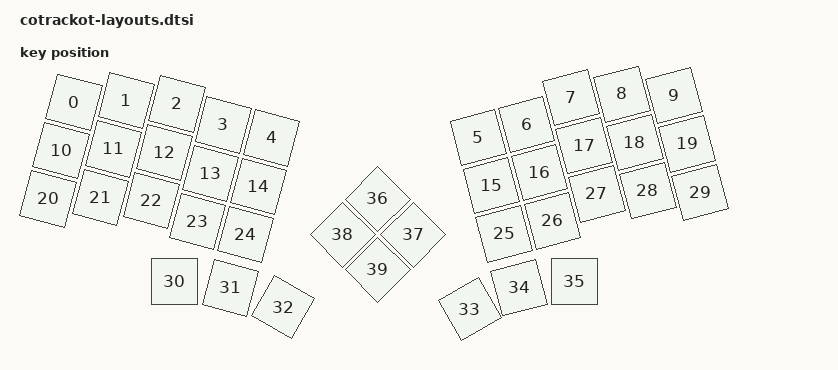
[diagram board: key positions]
#include <physical_layouts.dtsi>

/ {
    physical_layout0: physical_layout_0 {
        compatible = "zmk,physical-layout";
        display-name = "Default";

        kscan = <&kscan0>;
        transform = <&keymap_transform_0>;

        keys  //                     w   h    x    y     rot    rx    ry
            = <&key_physical_attrs 100 100    0   50    1500     0 (-12)>
            , <&key_physical_attrs 100 100  100   20    1500     0 (-12)>
            , <&key_physical_attrs 100 100  200    0    1500     0 (-12)>
            , <&key_physical_attrs 100 100  300   17    1500     0 (-12)>
            , <&key_physical_attrs 100 100  400   17    1500     0 (-12)>
            , <&key_physical_attrs 100 100  700  337 (-1500)     0 (-12)>
            , <&key_physical_attrs 100 100  800  337 (-1500)     0 (-12)>
            , <&key_physical_attrs 100 100  900  308 (-1500)     0 (-12)>
            , <&key_physical_attrs 100 100 1000  328 (-1500)     0 (-12)>
            , <&key_physical_attrs 100 100 1100  358 (-1500)     0 (-12)>
            , <&key_physical_attrs 100 100    0  150    1500     0 (-12)>
            , <&key_physical_attrs 100 100  100  120    1500     0 (-12)>
            , <&key_physical_attrs 100 100  200  100    1500     0 (-12)>
            , <&key_physical_attrs 100 100  300  117    1500     0 (-12)>
            , <&key_physical_attrs 100 100  400  117    1500     0 (-12)>
            , <&key_physical_attrs 100 100  700  437 (-1500)     0 (-12)>
            , <&key_physical_attrs 100 100  800  437 (-1500)     0 (-12)>
            , <&key_physical_attrs 100 100  900  408 (-1500)     0 (-12)>
            , <&key_physical_attrs 100 100 1000  428 (-1500)     0 (-12)>
            , <&key_physical_attrs 100 100 1100  458 (-1500)     0 (-12)>
            , <&key_physical_attrs 100 100    0  250    1500     0 (-12)>
            , <&key_physical_attrs 100 100  100  220    1500     0 (-12)>
            , <&key_physical_attrs 100 100  200  200    1500     0 (-12)>
            , <&key_physical_attrs 100 100  300  217    1500     0 (-12)>
            , <&key_physical_attrs 100 100  400  217    1500     0 (-12)>
            , <&key_physical_attrs 100 100  700  537 (-1500)     0 (-12)>
            , <&key_physical_attrs 100 100  800  537 (-1500)     0 (-12)>
            , <&key_physical_attrs 100 100  900  508 (-1500)     0 (-12)>
            , <&key_physical_attrs 100 100 1000  528 (-1500)     0 (-12)>
            , <&key_physical_attrs 100 100 1100  558 (-1500)     0 (-12)>
            , <&key_physical_attrs 100 100  170  418       0     0     0>
            , <&key_physical_attrs 100 100  295  455    1500   430   443>
            , <&key_physical_attrs 100 100  425  455    3000   430   443>
            , <&key_physical_attrs 100 100  715  483 (-3000)   770   443>
            , <&key_physical_attrs 100 100  845  465 (-1500)   770   443>
            , <&key_physical_attrs 100 100  970  418       0     0     0>
            , <&key_physical_attrs 100 100  420  155    4500   430   443>
            , <&key_physical_attrs 100 100  520  155    4500   430   443>
            , <&key_physical_attrs 100 100  520  495    4500   770   443>
            , <&key_physical_attrs 100 100  620  495    4500   770   443>
            ;
    };
};
